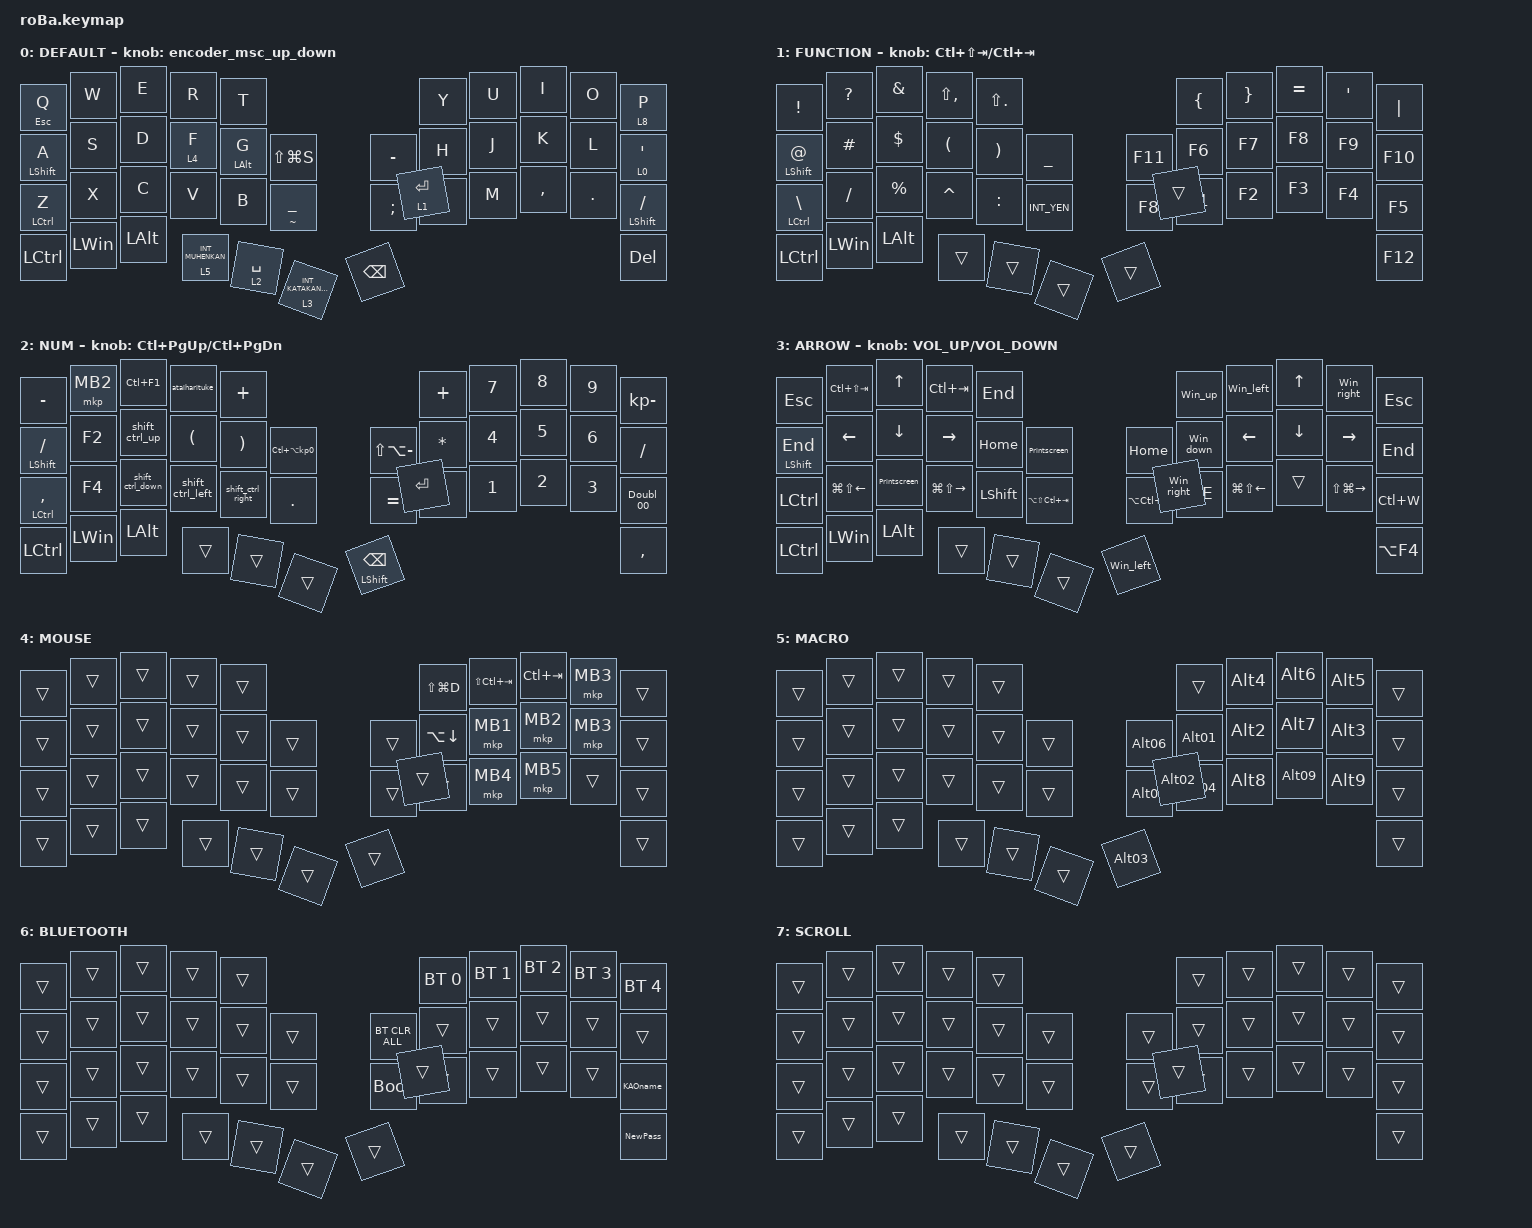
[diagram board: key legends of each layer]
#include <input/processors.dtsi>
#include <dt-bindings/zmk/input_transform.h>
#include <zephyr/dt-bindings/input/input-event-codes.h>
#include <scroll-snap.dtsi>
#include <behaviors.dtsi>
#include <dt-bindings/zmk/bt.h>
#include <dt-bindings/zmk/keys.h>
#include <dt-bindings/zmk/pointing.h>

#define ZMK_POINTING_DEFAULT_SCRL_VAL 100
#define DEFAULT 0
#define FUNCTION 1
#define NUM 2
#define ARROW 3
#define MOUSE 4
#define MACRO 5
#define BLUETOOTH 6
#define SCROLL 7

&mt {
    tapping-term-ms = <180>;
    quick-tap-ms = <250>;
    flavor = "balanced";
};

&mkp_input_listener { input-processors = <&zip_temp_layer 4 250>; };

/ {
    combos {
        compatible = "zmk,combos";

        tab {
            bindings = <&kp TAB>;
            key-positions = <11 12>;
        };

        shift_tab {
            bindings = <&kp LS(TAB)>;
            key-positions = <10 11>;
        };

        double_quotation {
            bindings = <&kp DOUBLE_QUOTES>;
            key-positions = <20 21>;
        };

        at_sign {
            bindings = <&kp AT_SIGN>;
            key-positions = <14 13>;
        };

        ESC_sign {
            bindings = <&kp ESC>;
            key-positions = <0 1>;
        };

        ctrlz {
            bindings = <&kp LC(Z)>;
            key-positions = <22 23>;
        };

        AltDown {
            bindings = <&kp LA(DOWN_ARROW)>;
            key-positions = <18 19>;
        };

        Alt09 {
            bindings = <&Alt09>;
            key-positions = <1 2>;
        };

        Alt08 {
            bindings = <&Alt08>;
            key-positions = <2 3>;
        };

        Alt07 {
            bindings = <&Alt07>;
            key-positions = <3 4>;
        };

        new_folder {
            bindings = <&new_folder>;
            key-positions = <26 27>;
        };

        TeamsMute {
            bindings = <&kp LS(LC(M))>;
            key-positions = <29 30>;
        };

        Mute {
            bindings = <&kp C_MUTE>;
            key-positions = <28 29>;
        };

        HENKAN {
            bindings = <&kp INT_HENKAN>;
            key-positions = <26 25>;
        };

        Ctrl+Plus {
            bindings = <&kp LC(KP_PLUS)>;
            key-positions = <20 19>;
        };

        streamdeck {
            bindings = <&kp LA(LC(P))>;
            key-positions = <9 8>;
        };
    };

    macros {
        to_layer_0: to_layer_0 {
            compatible = "zmk,behavior-macro-one-param";
            #binding-cells = <1>;
            bindings = <&to 0 &macro_param_1to1 &kp MACRO_PLACEHOLDER>;
        };

        KAOname: KAOname {
            compatible = "zmk,behavior-macro";
            #binding-cells = <0>;
            bindings = <&none &kp KP_NUMBER_3 &kp KP_NUMBER_2 &kp KP_NUMBER_5 &kp KP_NUMBER_6 &kp KP_NUMBER_1 &kp KP_NUMBER_1 &kp TAB>;
        };

        NewPass: NewPass {
            compatible = "zmk,behavior-macro";
            #binding-cells = <0>;
            bindings =
                <&macro_tap>,
                <&none &kp SPACE>,
                <&macro_wait_time 150>,
                <&kp BACKSPACE &kp DOLLAR &kp LS(Y) &kp U &kp T &kp O &kp HASH &kp NUMBER_0 &kp NUMBER_5 &kp NUMBER_3 &kp NUMBER_0 &kp ENTER>,
                <&macro_release>;

            label = "NEWPASS";
            wait-ms = <30>;
            tap-ms = <30>;
        };

        Doubl_00: Doubl_00 {
            compatible = "zmk,behavior-macro";
            #binding-cells = <0>;
            bindings = <&none &kp KP_NUMBER_0 &kp KP_NUMBER_0>;
        };

        Win_right: Win_right {
            compatible = "zmk,behavior-macro";
            #binding-cells = <0>;
            bindings =
                <&none>,
                <&macro_press>,
                <&kp LEFT_WIN>,
                <&macro_tap>,
                <&kp RIGHT>,
                <&macro_release>,
                <&kp LEFT_WIN &kp RIGHT>;
        };

        Win_left: Win_left {
            compatible = "zmk,behavior-macro";
            #binding-cells = <0>;
            bindings =
                <&none>,
                <&macro_press>,
                <&kp LEFT_WIN>,
                <&macro_tap>,
                <&kp LEFT>,
                <&macro_release>,
                <&kp LEFT_WIN &kp LEFT>;
        };

        Printscreen: Printscreen {
            compatible = "zmk,behavior-macro";
            #binding-cells = <0>;
            bindings =
                <&none>,
                <&macro_press>,
                <&kp LEFT_ALT>,
                <&macro_tap>,
                <&kp PRINTSCREEN>,
                <&macro_release>,
                <&kp LEFT_ALT &kp PRINTSCREEN>;
        };

        Win_up: Win_up {
            compatible = "zmk,behavior-macro";
            #binding-cells = <0>;
            bindings =
                <&none>,
                <&macro_press>,
                <&kp LEFT_WIN>,
                <&macro_tap>,
                <&kp UP_ARROW>,
                <&macro_release>,
                <&kp LEFT_WIN &kp UP_ARROW>;
        };

        Win_down: Win_down {
            compatible = "zmk,behavior-macro";
            #binding-cells = <0>;
            bindings =
                <&none>,
                <&macro_press>,
                <&kp LEFT_WIN>,
                <&macro_tap>,
                <&kp DOWN_ARROW>,
                <&macro_release>,
                <&kp LEFT_WIN &kp DOWN_ARROW>;
        };

        Alt1: Alt1 {
            compatible = "zmk,behavior-macro";
            #binding-cells = <0>;
            bindings = <&none &kp LEFT_ALT &kp NUMBER_1>;
        };

        Alt2: Alt2 {
            compatible = "zmk,behavior-macro";
            #binding-cells = <0>;
            bindings = <&none &kp LEFT_ALT &kp NUMBER_2>;
        };

        Alt3: Alt3 {
            compatible = "zmk,behavior-macro";
            #binding-cells = <0>;
            bindings = <&none &kp LEFT_ALT &kp NUMBER_3>;
        };

        Alt4: Alt4 {
            compatible = "zmk,behavior-macro";
            #binding-cells = <0>;
            bindings = <&none &kp LEFT_ALT &kp NUMBER_4>;
        };

        Alt5: Alt5 {
            compatible = "zmk,behavior-macro";
            #binding-cells = <0>;
            bindings = <&none &kp LEFT_ALT &kp NUMBER_5>;
        };

        Alt6: Alt6 {
            compatible = "zmk,behavior-macro";
            #binding-cells = <0>;
            bindings = <&none &kp LEFT_ALT &kp NUMBER_6>;
        };

        Alt7: Alt7 {
            compatible = "zmk,behavior-macro";
            #binding-cells = <0>;
            bindings = <&none &kp LEFT_ALT &kp NUMBER_7>;
        };

        Alt8: Alt8 {
            compatible = "zmk,behavior-macro";
            #binding-cells = <0>;
            bindings = <&none &kp LEFT_ALT &kp NUMBER_8>;
        };

        Alt9: Alt9 {
            compatible = "zmk,behavior-macro";
            #binding-cells = <0>;
            bindings = <&none &kp LEFT_ALT &kp NUMBER_9>;
        };

        Alt00: Alt00 {
            compatible = "zmk,behavior-macro";
            #binding-cells = <0>;
            bindings = <&none &kp LEFT_ALT &kp NUMBER_0 &kp NUMBER_0>;
        };

        Alt09: Alt09 {
            compatible = "zmk,behavior-macro";
            #binding-cells = <0>;
            bindings = <&none &kp LEFT_ALT &kp NUMBER_0 &kp NUMBER_9>;
        };

        Alt08: Alt08 {
            compatible = "zmk,behavior-macro";
            #binding-cells = <0>;
            bindings = <&none &kp LEFT_ALT &kp NUMBER_0 &kp NUMBER_8>;
        };

        Alt07: Alt07 {
            compatible = "zmk,behavior-macro";
            #binding-cells = <0>;
            bindings = <&none &kp LEFT_ALT &kp NUMBER_0 &kp NUMBER_7>;
        };

        Alt06: Alt06 {
            compatible = "zmk,behavior-macro";
            #binding-cells = <0>;
            bindings = <&none &kp LEFT_ALT &kp NUMBER_0 &kp NUMBER_6>;
        };

        Alt05: Alt05 {
            compatible = "zmk,behavior-macro";
            #binding-cells = <0>;
            bindings = <&none &kp LEFT_ALT &kp NUMBER_0 &kp NUMBER_5>;
        };

        Alt04: Alt04 {
            compatible = "zmk,behavior-macro";
            #binding-cells = <0>;
            bindings = <&none &kp LEFT_ALT &kp NUMBER_0 &kp NUMBER_4>;
        };

        Alt03: Alt03 {
            compatible = "zmk,behavior-macro";
            #binding-cells = <0>;
            bindings = <&none &kp LEFT_ALT &kp NUMBER_0 &kp NUMBER_3>;
        };

        Alt02: Alt02 {
            compatible = "zmk,behavior-macro";
            #binding-cells = <0>;
            bindings = <&none &kp LEFT_ALT &kp NUMBER_0 &kp NUMBER_2>;
        };

        Alt01: Alt01 {
            compatible = "zmk,behavior-macro";
            #binding-cells = <0>;
            bindings = <&none &kp LEFT_ALT &kp NUMBER_0 &kp NUMBER_1>;
        };

        ataiharituke: ataiharituke {
            compatible = "zmk,behavior-macro";
            #binding-cells = <0>;
            bindings = <&none &kp LEFT_ALT &kp H &kp V &kp V>;
        };

        shift_ctrl_right: shift_ctrl_right {
            compatible = "zmk,behavior-macro";
            #binding-cells = <0>;
            bindings =
                <&macro_press>,
                <&kp LEFT_SHIFT &kp LEFT_CONTROL>,
                <&macro_tap>,
                <&kp RIGHT_ARROW>,
                <&macro_release>,
                <&kp LEFT_SHIFT &kp LEFT_CONTROL>;
        };

        shift_ctrl_left: shift_ctrl_left {
            compatible = "zmk,behavior-macro";
            #binding-cells = <0>;
            bindings =
                <&macro_press>,
                <&kp LEFT_SHIFT &kp LEFT_CONTROL>,
                <&macro_tap>,
                <&kp LEFT_ARROW>,
                <&macro_release>,
                <&kp LEFT_SHIFT &kp LEFT_CONTROL>;
        };

        shift_ctrl_up: shift_ctrl_up {
            compatible = "zmk,behavior-macro";
            #binding-cells = <0>;
            bindings =
                <&macro_press>,
                <&kp LEFT_SHIFT &kp LEFT_CONTROL>,
                <&macro_tap>,
                <&kp UP_ARROW>,
                <&macro_release>,
                <&kp LEFT_SHIFT &kp LEFT_CONTROL>;
        };

        shift_ctrl_down: shift_ctrl_down {
            compatible = "zmk,behavior-macro";
            #binding-cells = <0>;
            bindings =
                <&macro_press>,
                <&kp LEFT_SHIFT &kp LEFT_CONTROL>,
                <&macro_tap>,
                <&kp DOWN_ARROW>,
                <&macro_release>,
                <&kp LEFT_SHIFT &kp LEFT_CONTROL>;
        };

        new_folder: new_folder {
            compatible = "zmk,behavior-macro";
            #binding-cells = <0>;
            bindings =
                <&macro_press>,
                <&kp LEFT_CONTROL &kp LEFT_SHIFT>,
                <&macro_tap>,
                <&kp N>,
                <&macro_release>,
                <&kp LEFT_CONTROL &kp LEFT_SHIFT>;
        };

        exit_AML: exit_AML {
            compatible = "zmk,behavior-macro";
            wait-ms = <0>;
            tap-ms = <0>;
            #binding-cells = <0>;
            bindings = <&tog_off 4>;
        };

        kp_exit_AML: kp_exit_AML {
            compatible = "zmk,behavior-macro-one-param";
            wait-ms = <0>;
            tap-ms = <0>;
            #binding-cells = <1>;
            bindings = <&macro_param_1to1 &kp MACRO_PLACEHOLDER &exit_AML>;
        };

        streamdeck: streamdeck {
            compatible = "zmk,behavior-macro";
            #binding-cells = <0>;
            bindings =
                <&macro_press>,
                <&kp LA(LEFT_ALT)>,
                <&macro_tap>,
                <&kp S>,
                <&macro_release>,
                <&kp LEFT_ALT>;
        };

        ctrl_tab: ctrl_tab {
            compatible = "zmk,behavior-macro";
            #binding-cells = <0>;
            bindings =
                <&macro_press>,
                <&kp LEFT_CONTROL>,
                <&macro_tap>,
                <&kp TAB>,
                <&macro_release>,
                <&kp LEFT_CONTROL>;
        };

        ctrl_shift_tab: ctrl_shift_tab {
            compatible = "zmk,behavior-macro";
            #binding-cells = <0>;
            bindings =
                <&macro_press>,
                <&kp LEFT_CONTROL &kp LEFT_SHIFT>,
                <&macro_tap>,
                <&kp TAB>,
                <&macro_release>,
                <&kp LEFT_CONTROL &kp LEFT_SHIFT>;
        };
    };

    behaviors {
        lt_to_layer_0: lt_to_layer_0 {
            compatible = "zmk,behavior-hold-tap";
            label = "LAYER_TAP_TO_0";
            bindings = <&mo>, <&to_layer_0>;

            #binding-cells = <2>;
            tapping-term-ms = <180>;
        };

        encoder_msc_up_down: encoder_msc_up_down {
            compatible = "zmk,behavior-sensor-rotate";
            label = "ENCODER_ MSC_UP_DOWN";
            #sensor-binding-cells = <0>;
            bindings = <&msc SCRL_UP>, <&msc SCRL_DOWN>;

            tap-ms = <60>;
        };

        tog_off: toggle_layer_off {
            compatible = "zmk,behavior-toggle-layer";
            #binding-cells = <1>;
            display-name = "Toggle Layer Off";
            toggle-mode = "off";
        };

        mt_exit_AML_on_tap: mt_exit_AML_on_tap {
            compatible = "zmk,behavior-hold-tap";
            label = "MT_exit_AML_ON_TAP";
            bindings = <&kp>, <&kp_exit_AML>;

            #binding-cells = <2>;
            tapping-term-ms = <200>;
            flavor = "balanced";
            quick-tap-ms = <200>;
        };
    };

    keymap {
        compatible = "zmk,keymap";

        DEFAULT {
            bindings = <
&mt ESC Q           &kp W         &kp E         &kp R                          &kp T                                                                             &kp Y                   &kp U  &kp I      &kp O    &lt 8 P
&mt LEFT_SHIFT A    &kp S         &kp D         &lt 4 F                        &mt LEFT_ALT G          &kp LS(LG(S))                              &kp MINUS      &kp H                   &kp J  &kp K      &kp L    &lt 0 SQT
&mt LEFT_CONTROL Z  &kp X         &kp C         &kp V                          &kp B                   &mt TILDE UNDER                            &kp SEMICOLON  &kp N                   &kp M  &kp COMMA  &kp DOT  &mt LEFT_SHIFT SLASH
&kp LEFT_CONTROL    &kp LEFT_WIN  &kp LEFT_ALT  &lt_to_layer_0 5 INT_MUHENKAN  &lt_to_layer_0 2 SPACE  &lt_to_layer_0 3 INT_KATAKANAHIRAGANA      &kp BACKSPACE  &lt_to_layer_0 1 ENTER                             &kp DEL
            >;

            sensor-bindings = <&encoder_msc_up_down>;
        };

        FUNCTION {
            bindings = <
&kp EXCLAMATION             &kp QUESTION  &kp AMPERSAND  &kp LS(COMMA)         &kp LS(PERIOD)                                   &kp LEFT_BRACE  &kp RIGHT_BRACE  &kp EQUAL  &kp APOS  &kp PIPE
&mt LEFT_SHIFT AT_SIGN      &kp HASH      &kp DOLLAR     &kp LEFT_PARENTHESIS  &kp RIGHT_PARENTHESIS  &kp UNDER        &kp F11  &kp F6          &kp F7           &kp F8     &kp F9    &kp F10
&mt LEFT_CONTROL BACKSLASH  &kp SLASH     &kp PRCNT      &kp CARET             &kp COLON              &kp INT_YEN      &kp F8   &kp F1          &kp F2           &kp F3     &kp F4    &kp F5
&kp LEFT_CONTROL            &kp LEFT_WIN  &kp LEFT_ALT   &trans                &trans                 &trans           &trans   &trans                                                &kp F12
            >;

            sensor-bindings = <&inc_dec_kp LC(LS(TAB)) LC(TAB)>;
        };

        NUM {
            bindings = <
&kp MINUS               &mkp MB2      &kp LC(F1)        &ataiharituke         &kp PLUS                                                                      &kp PLUS      &kp NUMBER_7  &kp NUMBER_8  &kp NUMBER_9  &kp KP_MINUS
&mt LEFT_SHIFT SLASH    &kp F2        &shift_ctrl_up    &kp LEFT_PARENTHESIS  &kp RIGHT_PARENTHESIS  &kp LC(LA(KP_NUMBER_0))      &kp LS(LA(MINUS))         &kp ASTERISK  &kp NUMBER_4  &kp NUMBER_5  &kp NUMBER_6  &kp SLASH
&mt LEFT_CONTROL COMMA  &kp F4        &shift_ctrl_down  &shift_ctrl_left      &shift_ctrl_right      &kp PERIOD                   &kp EQUAL                 &kp N0        &kp N1        &kp NUMBER_2  &kp NUMBER_3  &Doubl_00
&kp LEFT_CONTROL        &kp LEFT_WIN  &kp LEFT_ALT      &trans                &trans                 &trans                       &mt LEFT_SHIFT BACKSPACE  &kp ENTER                                               &kp COMMA
            >;

            sensor-bindings = <&inc_dec_kp LC(PAGE_UP) LC(PAGE_DOWN)>;
        };

        ARROW {
            bindings = <
&kp ESCAPE          &kp LC(LS(TAB))         &kp UP_ARROW    &kp LC(TAB)              &kp END                                                   &Win_up     &Win_left               &kp UP_ARROW    &Win_right               &kp ESC
&mt LEFT_SHIFT END  &kp LEFT_ARROW          &kp DOWN_ARROW  &kp RIGHT_ARROW          &kp HOME        &Printscreen             &kp HOME         &Win_down   &kp LEFT                &kp DOWN_ARROW  &kp RIGHT                &kp END
&kp LEFT_CONTROL    &kp LG(LS(LEFT_ARROW))  &Printscreen    &kp LG(LS(RIGHT_ARROW))  &kp LEFT_SHIFT  &kp LA(LS(LC(TAB)))      &kp LA(LC(TAB))  &kp LG(E)   &kp LG(LS(LEFT_ARROW))  &trans          &kp LS(LG(RIGHT_ARROW))  &kp LC(W)
&kp LEFT_CONTROL    &kp LEFT_WIN            &kp LEFT_ALT    &trans                   &trans          &trans                   &Win_left        &Win_right                                                                   &kp LA(F4)
            >;

            sensor-bindings = <&inc_dec_kp C_VOLUME_UP C_VOLUME_DOWN>;
        };

        MOUSE {
            bindings = <
&trans  &trans  &trans  &trans  &trans                      &kp LS(LG(D))       &kp LS(LC(TAB))  &kp LC(TAB)  &mkp MB3  &trans
&trans  &trans  &trans  &trans  &trans  &trans      &trans  &kp LA(DOWN_ARROW)  &mkp MB1         &mkp MB2     &mkp MB3  &trans
&trans  &trans  &trans  &trans  &trans  &trans      &trans  &trans              &mkp MB4         &mkp MB5     &trans    &trans
&trans  &trans  &trans  &trans  &trans  &trans      &trans  &trans                                                      &trans
            >;
        };

        MACRO {
            bindings = <
&trans  &trans  &trans  &trans  &trans                      &trans  &Alt4  &Alt6   &Alt5  &trans
&trans  &trans  &trans  &trans  &trans  &trans      &Alt06  &Alt01  &Alt2  &Alt7   &Alt3  &trans
&trans  &trans  &trans  &trans  &trans  &trans      &Alt05  &Alt04  &Alt8  &Alt09  &Alt9  &trans
&trans  &trans  &trans  &trans  &trans  &trans      &Alt03  &Alt02                        &trans
            >;
        };

        BLUETOOTH {
            bindings = <
&trans  &trans  &trans  &trans  &trans                              &bt BT_SEL 0  &bt BT_SEL 1  &bt BT_SEL 2  &bt BT_SEL 3  &bt BT_SEL 4
&trans  &trans  &trans  &trans  &trans  &trans      &bt BT_CLR_ALL  &trans        &trans        &trans        &trans        &trans
&trans  &trans  &trans  &trans  &trans  &trans      &bootloader     &trans        &trans        &trans        &trans        &KAOname
&trans  &trans  &trans  &trans  &trans  &trans      &trans          &trans                                                  &NewPass
            >;
        };

        SCROLL {
            bindings = <
&trans  &trans  &trans  &trans  &trans                      &trans  &trans  &trans  &trans  &trans
&trans  &trans  &trans  &trans  &trans  &trans      &trans  &trans  &trans  &trans  &trans  &trans
&trans  &trans  &trans  &trans  &trans  &trans      &trans  &trans  &trans  &trans  &trans  &trans
&trans  &trans  &trans  &trans  &trans  &trans      &trans  &trans                          &trans
            >;
        };
    };
};
